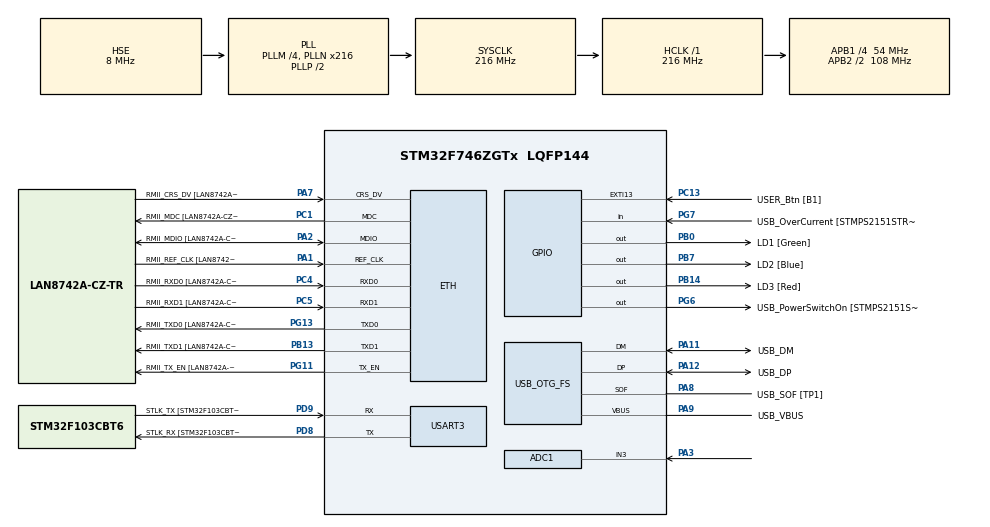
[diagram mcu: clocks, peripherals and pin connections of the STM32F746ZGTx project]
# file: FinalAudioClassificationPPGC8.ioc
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ADC1.Channel-0\#ChannelRegularConversion=ADC_CHANNEL_3
ADC1.ContinuousConvMode=ENABLE
ADC1.DMAContinuousRequests=ENABLE
ADC1.NbrOfConversionFlag=1
ADC1.Rank-0\#ChannelRegularConversion=1
ADC1.SamplingTime-0\#ChannelRegularConversion=ADC_SAMPLETIME_3CYCLES
ADC1.master=1
CORTEX_M7.CPU_DCache=Enabled
CORTEX_M7.CPU_ICache=Enabled
Dma.ADC1.0.Direction=DMA_PERIPH_TO_MEMORY
Dma.ADC1.0.FIFOMode=DMA_FIFOMODE_DISABLE
Dma.ADC1.0.Instance=DMA2_Stream0
Dma.ADC1.0.MemDataAlignment=DMA_MDATAALIGN_HALFWORD
Dma.ADC1.0.MemInc=DMA_MINC_ENABLE
Dma.ADC1.0.Mode=DMA_CIRCULAR
Dma.ADC1.0.PeriphDataAlignment=DMA_PDATAALIGN_HALFWORD
Dma.ADC1.0.PeriphInc=DMA_PINC_DISABLE
Dma.ADC1.0.Priority=DMA_PRIORITY_LOW
Dma.Request0=ADC1
ETH.MediaInterface=ETH_MEDIA_INTERFACE_RMII
ETH.PHY_Name=LAN8742A_PHY_ADDRESS
ETH.PHY_Value=0
ETH.PhyAddress=0
Mcu.Family=STM32F7
Mcu.Name=STM32F746ZGTx
Mcu.Package=LQFP144
NVIC.DMA2_Stream0_IRQn=true\:0\:0\:false\:false\:true\:false\:true
NVIC.PriorityGroup=NVIC_PRIORITYGROUP_4
PA1.GPIO_Label=RMII_REF_CLK [LAN8742A-CZ-TR_REFCLK0]
PA1.Mode=RMII
PA1.Signal=ETH_REF_CLK
PA10.GPIO_Label=USB_ID
PA10.Signal=USB_OTG_FS_ID
PA11.GPIO_Label=USB_DM
PA11.Mode=Device_Only
PA11.Signal=USB_OTG_FS_DM
PA12.GPIO_Label=USB_DP
PA12.Mode=Device_Only
PA12.Signal=USB_OTG_FS_DP
PA13.GPIO_Label=TMS
PA13.Mode=Serial_Wire
PA13.Signal=SYS_JTMS-SWDIO
PA14.GPIO_Label=TCK
PA14.Mode=Serial_Wire
PA14.Signal=SYS_JTCK-SWCLK
PA2.GPIO_Label=RMII_MDIO [LAN8742A-CZ-TR_MDIO]
PA2.Mode=RMII
PA2.Signal=ETH_MDIO
PA3.Signal=ADCx_IN3
PA7.GPIO_Label=RMII_CRS_DV [LAN8742A-CZ-TR_CRS_DV]
PA7.Mode=RMII
PA7.Signal=ETH_CRS_DV
PA8.GPIO_Label=USB_SOF [TP1]
PA8.Mode=Activate_SOF_FS
PA8.Signal=USB_OTG_FS_SOF
PA9.GPIO_Label=USB_VBUS
PA9.Mode=Activate_VBUS
PA9.Signal=USB_OTG_FS_VBUS
PB0.GPIO_Label=LD1 [Green]
PB0.Signal=GPIO_Output
PB13.GPIO_Label=RMII_TXD1 [LAN8742A-CZ-TR_TXD1]
PB13.Mode=RMII
PB13.Signal=ETH_TXD1
PB14.GPIO_Label=LD3 [Red]
PB14.Signal=GPIO_Output
PB3.GPIO_Label=SW0
PB3.Signal=SYS_JTDO-SWO
PB7.GPIO_Label=LD2 [Blue]
PB7.Signal=GPIO_Output
PC1.GPIO_Label=RMII_MDC [LAN8742A-CZ-TR_MDC]
PC1.Mode=RMII
PC1.Signal=ETH_MDC
PC13.GPIO_Label=USER_Btn [B1]
PC13.Signal=GPXTI13
PC14/OSC32_IN.Mode=LSE-External-Oscillator
PC14/OSC32_IN.Signal=RCC_OSC32_IN
PC15/OSC32_OUT.Mode=LSE-External-Oscillator
PC15/OSC32_OUT.Signal=RCC_OSC32_OUT
PC4.GPIO_Label=RMII_RXD0 [LAN8742A-CZ-TR_RXD0]
PC4.Mode=RMII
PC4.Signal=ETH_RXD0
PC5.GPIO_Label=RMII_RXD1 [LAN8742A-CZ-TR_RXD1]
PC5.Mode=RMII
PC5.Signal=ETH_RXD1
PD8.GPIO_Label=STLK_RX [STM32F103CBT6_PA3]
PD8.Mode=Asynchronous
PD8.Signal=USART3_TX
PD9.GPIO_Label=STLK_TX [STM32F103CBT6_PA2]
PD9.Mode=Asynchronous
PD9.Signal=USART3_RX
PG11.GPIO_Label=RMII_TX_EN [LAN8742A-CZ-TR_TXEN]
PG11.Mode=RMII
PG11.Signal=ETH_TX_EN
PG13.GPIO_Label=RMII_TXD0 [LAN8742A-CZ-TR_TXD0]
PG13.Mode=RMII
PG13.Signal=ETH_TXD0
PG6.GPIO_Label=USB_PowerSwitchOn [STMPS2151STR_EN]
PG6.Signal=GPIO_Output
PG7.GPIO_Label=USB_OverCurrent [STMPS2151STR_FAULT]
PG7.Signal=GPIO_Input
PH0/OSC_IN.GPIO_Label=MCO [STM32F103CBT6_PA8]
PH0/OSC_IN.Mode=HSE-External-Clock-Source
PH0/OSC_IN.Signal=RCC_OSC_IN
PH1/OSC_OUT.Mode=HSE-External-Clock-Source
PH1/OSC_OUT.Signal=RCC_OSC_OUT
ProjectManager.HeapSize=0x200
ProjectManager.StackSize=0x400
ProjectManager.TargetToolchain=STM32CubeIDE
RCC.48MHZClocksFreq_Value=24000000
RCC.AHBFreq_Value=216000000
RCC.APB1CLKDivider=RCC_HCLK_DIV4
RCC.APB1Freq_Value=54000000
RCC.APB1TimFreq_Value=108000000
RCC.APB2CLKDivider=RCC_HCLK_DIV2
RCC.APB2Freq_Value=108000000
RCC.APB2TimFreq_Value=216000000
RCC.CortexFreq_Value=216000000
RCC.HCLKFreq_Value=216000000
RCC.HSE_VALUE=8000000
RCC.HSI_VALUE=16000000
RCC.PLLM=4
RCC.PLLMUL=RCC_PLL_MUL9
RCC.PLLN=216
RCC.PLLQ=9
RCC.PRESCALERUSB=RCC_USBCLKSOURCE_PLL_DIV1_5
RCC.SYSCLKFreq_VALUE=216000000
RCC.SYSCLKSource=RCC_SYSCLKSOURCE_PLLCLK
RCC.SYSCLKSourceVirtual=RCC_SYSCLKSOURCE_PLLCLK
RCC.USBFreq_Value=48000000
RCC.VCOOutputFreq_Value=432000000
SH.ADCx_IN3.0=ADC1_IN3,IN3
STMicroelectronics.X-CUBE-AI.4.1.0.ActivationBufferSizeList=55552
STMicroelectronics.X-CUBE-AI.4.1.0.ApplicationCcArtificialOoIntelligenceJjApplication=ApplicationTemplate
STMicroelectronics.X-CUBE-AI.4.1.0.ArtificialOoIntelligenceJjApplication.cmp_version0=4.1.0
STMicroelectronics.X-CUBE-AI.4.1.0.ArtificialOoIntelligenceJjApplication.component0=Artificial Intelligence
STMicroelectronics.X-CUBE-AI.4.1.0.ArtificialOoIntelligenceJjApplication.description0=AI Application,Application Template
STMicroelectronics.X-CUBE-AI.4.1.0.ArtificialOoIntelligenceJjApplication.diagnostic0=This component should operate correctly.
STMicroelectronics.X-CUBE-AI.4.1.0.ArtificialOoIntelligenceJjApplication.documentation0=Documentation/index.html
STMicroelectronics.X-CUBE-AI.4.1.0.ArtificialOoIntelligenceJjApplication.group0=Application
STMicroelectronics.X-CUBE-AI.4.1.0.ArtificialOoIntelligenceJjApplication.paramName0=ApplicationCcArtificialOoIntelligenceJjApplication
STMicroelectronics.X-CUBE-AI.4.1.0.ArtificialOoIntelligenceJjApplication.sevirity0=none
STMicroelectronics.X-CUBE-AI.4.1.0.ArtificialOoIntelligenceJjApplication.variant0=ApplicationTemplate
STMicroelectronics.X-CUBE-AI.4.1.0.ArtificialOoIntelligenceJjApplication_bundle=Application
STMicroelectronics.X-CUBE-AI.4.1.0.ArtificialOoIntelligenceJjApplication_class=ArtificialOoIntelligence
STMicroelectronics.X-CUBE-AI.4.1.0.ArtificialOoIntelligenceJjApplication_name=X-CUBE-AI
STMicroelectronics.X-CUBE-AI.4.1.0.ArtificialOoIntelligenceJjApplication_size=1
STMicroelectronics.X-CUBE-AI.4.1.0.ArtificialOoIntelligenceJjApplication_vendor=STMicroelectronics
STMicroelectronics.X-CUBE-AI.4.1.0.ArtificialOoIntelligenceJjApplication_version=4.1.0
STMicroelectronics.X-CUBE-AI.4.1.0.ArtificialOoIntelligenceJjXAaCUBEAaAI.cmp_version0=4.1.0
STMicroelectronics.X-CUBE-AI.4.1.0.ArtificialOoIntelligenceJjXAaCUBEAaAI.cmp_version1=4.1.0
STMicroelectronics.X-CUBE-AI.4.1.0.ArtificialOoIntelligenceJjXAaCUBEAaAI.component0=Artificial Intelligence
STMicroelectronics.X-CUBE-AI.4.1.0.ArtificialOoIntelligenceJjXAaCUBEAaAI.component1=Artificial Intelligence
STMicroelectronics.X-CUBE-AI.4.1.0.ArtificialOoIntelligenceJjXAaCUBEAaAI.componentDoc0=nofile
STMicroelectronics.X-CUBE-AI.4.1.0.ArtificialOoIntelligenceJjXAaCUBEAaAI.description0=AI Core,Artificial Intelligence for STM32
STMicroelectronics.X-CUBE-AI.4.1.0.ArtificialOoIntelligenceJjXAaCUBEAaAI.description1=AI Application,Application Template
STMicroelectronics.X-CUBE-AI.4.1.0.ArtificialOoIntelligenceJjXAaCUBEAaAI.diagnostic0=This component should operate correctly.
STMicroelectronics.X-CUBE-AI.4.1.0.ArtificialOoIntelligenceJjXAaCUBEAaAI.diagnostic1=This component should operate correctly.
STMicroelectronics.X-CUBE-AI.4.1.0.ArtificialOoIntelligenceJjXAaCUBEAaAI.documentation0=Documentation/index.html
STMicroelectronics.X-CUBE-AI.4.1.0.ArtificialOoIntelligenceJjXAaCUBEAaAI.documentation1=Documentation/index.html
STMicroelectronics.X-CUBE-AI.4.1.0.ArtificialOoIntelligenceJjXAaCUBEAaAI.group0=Core
STMicroelectronics.X-CUBE-AI.4.1.0.ArtificialOoIntelligenceJjXAaCUBEAaAI.group1=Application
STMicroelectronics.X-CUBE-AI.4.1.0.ArtificialOoIntelligenceJjXAaCUBEAaAI.paramName0=XAaCUBEAaAICcArtificialOoIntelligenceJjCore
STMicroelectronics.X-CUBE-AI.4.1.0.ArtificialOoIntelligenceJjXAaCUBEAaAI.paramName1=ApplicationCcArtificialOoIntelligenceJjApplication
STMicroelectronics.X-CUBE-AI.4.1.0.ArtificialOoIntelligenceJjXAaCUBEAaAI.sevirity0=none
STMicroelectronics.X-CUBE-AI.4.1.0.ArtificialOoIntelligenceJjXAaCUBEAaAI.sevirity1=none
STMicroelectronics.X-CUBE-AI.4.1.0.ArtificialOoIntelligenceJjXAaCUBEAaAI.variant1=ApplicationTemplate
STMicroelectronics.X-CUBE-AI.4.1.0.ArtificialOoIntelligenceJjXAaCUBEAaAI_bundle=X-CUBE-AI
STMicroelectronics.X-CUBE-AI.4.1.0.ArtificialOoIntelligenceJjXAaCUBEAaAI_class=ArtificialOoIntelligence
STMicroelectronics.X-CUBE-AI.4.1.0.ArtificialOoIntelligenceJjXAaCUBEAaAI_name=X-CUBE-AI
STMicroelectronics.X-CUBE-AI.4.1.0.ArtificialOoIntelligenceJjXAaCUBEAaAI_size=2
STMicroelectronics.X-CUBE-AI.4.1.0.ArtificialOoIntelligenceJjXAaCUBEAaAI_vendor=STMicroelectronics
STMicroelectronics.X-CUBE-AI.4.1.0.ArtificialOoIntelligenceJjXAaCUBEAaAI_version=4.1.0
STMicroelectronics.X-CUBE-AI.4.1.0.HeapSize=0x200
STMicroelectronics.X-CUBE-AI.4.1.0.InternalRamActivationBufferMaxSize=AI_NETWORK_DATA_ACTIVATIONS_SIZE
STMicroelectronics.X-CUBE-AI.4.1.0.LatestDirectoryUsed-abd3b78fb78ced9f361b1f0ebdb47a8363bcf43b3bab798a49e808e65d75fdf4=C\:\\Users\\User\\Downloads\\ModelsForMicro\\ModelsForMicro
STMicroelectronics.X-CUBE-AI.4.1.0.ModelActualCompression-abd3b78fb78ced9f361b1f0ebdb47a8363bcf43b3bab798a49e808e65d75fdf4=0.0
STMicroelectronics.X-CUBE-AI.4.1.0.ModelCompression-abd3b78fb78ced9f361b1f0ebdb47a8363bcf43b3bab798a49e808e65d75fdf4=8
STMicroelectronics.X-CUBE-AI.4.1.0.ModelFlashOccupation-abd3b78fb78ced9f361b1f0ebdb47a8363bcf43b3bab798a49e808e65d75fdf4=590988
STMicroelectronics.X-CUBE-AI.4.1.0.ModelHashList=abd3b78fb78ced9f361b1f0ebdb47a8363bcf43b3bab798a49e808e65d75fdf4
STMicroelectronics.X-CUBE-AI.4.1.0.ModelKind-abd3b78fb78ced9f361b1f0ebdb47a8363bcf43b3bab798a49e808e65d75fdf4=KERAS
STMicroelectronics.X-CUBE-AI.4.1.0.ModelMacc-abd3b78fb78ced9f361b1f0ebdb47a8363bcf43b3bab798a49e808e65d75fdf4=11781149
STMicroelectronics.X-CUBE-AI.4.1.0.ModelName-abd3b78fb78ced9f361b1f0ebdb47a8363bcf43b3bab798a49e808e65d75fdf4=network
STMicroelectronics.X-CUBE-AI.4.1.0.ModelNameList=network
STMicroelectronics.X-CUBE-AI.4.1.0.ModelRamOccupation-abd3b78fb78ced9f361b1f0ebdb47a8363bcf43b3bab798a49e808e65d75fdf4=55552
STMicroelectronics.X-CUBE-AI.4.1.0.ModelStructureFile-abd3b78fb78ced9f361b1f0ebdb47a8363bcf43b3bab798a49e808e65d75fdf4=C\:\\Users\\User\\Downloads\\ModelsForMicro\\ModelsForMicro\\model_convReducedLessTest.h5
STMicroelectronics.X-CUBE-AI.4.1.0.ModelType-abd3b78fb78ced9f361b1f0ebdb47a8363bcf43b3bab798a49e808e65d75fdf4=Saved model
STMicroelectronics.X-CUBE-AI.4.1.0.StackSize=0x400
STMicroelectronics.X-CUBE-AI.4.1.0.WorkingBufferStartAddrList=0xFFFFFFFF
STMicroelectronics.X-CUBE-AI.4.1.0.XAaCUBEAaAICcArtificialOoIntelligenceJjCore=true
STMicroelectronics.X-CUBE-AI.4.1.0_ArtificialOoIntelligenceJjApplication_RteComponent0=\#define AI_ApplicationTemplate
STMicroelectronics.X-CUBE-AI.4.1.0_ArtificialOoIntelligenceJjApplication_RteComponentsize=1
STMicroelectronics.X-CUBE-AI.4.1.0_ArtificialOoIntelligenceJjXAaCUBEAaAI_RteComponentsize=0
STMicroelectronics.X-CUBE-AI.4.1.0_MwName0=X-CUBE-AI
STMicroelectronics.X-CUBE-AI.4.1.0_MwName1=Application
STMicroelectronics.X-CUBE-AI.4.1.0_NumberOfMw=2
STMicroelectronics.X-CUBE-AI.4.1.0_description=Artificial Intelligence
STMicroelectronics.X-CUBE-AI.4.1.0_license=SLA0048.txt
USART3.VirtualMode-Asynchronous=VM_ASYNC
USB_OTG_FS.VirtualMode=Device_Only
VP_CRC_VS_CRC.Mode=CRC_Activate
VP_STMicroelectronics.X-CUBE-AI_VS_ArtificialOoIntelligenceJjApplication_4.1.0.Mode=ArtificialOoIntelligenceJjApplication
VP_STMicroelectronics.X-CUBE-AI_VS_ArtificialOoIntelligenceJjXAaCUBEAaAI_4.1.0.Mode=ArtificialOoIntelligenceJjXAaCUBEAaAI
board=NUCLEO-F746ZG

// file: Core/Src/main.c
/* USER CODE BEGIN Header */
/**
  ******************************************************************************
  * @file           : main.c
  * @brief          : Main program body
  ******************************************************************************
  * @attention
  *
  * <h2><center>&copy; Copyright (c) 2019 STMicroelectronics.
  * All rights reserved.</center></h2>
  *
  * This software component is licensed by ST under BSD 3-Clause license,
  * the "License"; You may not use this file except in compliance with the
  * License. You may obtain a copy of the License at:
  *                        opensource.org/licenses/BSD-3-Clause
  *
  ******************************************************************************
  */
/* USER CODE END Header */

#include "main.h"
#include "app_x-cube-ai.h"

/* USER CODE BEGIN Includes */
#include <stdio.h>
#include <string.h>
#include "base.h"
#include "c_speech_features.h"
#include "TestSamples.h"
/* USER CODE END Includes */

/* USER CODE BEGIN PD */
#define ADC_BUF_SIZE                   113
#define BIG_BUFFER_SIZE                64000
#define LITTLE_BUFFER_SIZE             1600
#define PRINT_BUFFER_SIZE              150
#define MAX_UINT12                     4095
#define MFCC_LENGTH                    9
#define SAMPLE_RATE                    16000
#define WINDOW_LENGTH 0.025
#define WINDOW_STEP   0.01
#define NCEPS          13
#define NFILT         26
#define NFFT          512
/* USER CODE END PD */

ADC_HandleTypeDef hadc1;
DMA_HandleTypeDef hdma_adc1;

CRC_HandleTypeDef hcrc;

ETH_HandleTypeDef heth;

//TIM_HandleTypeDef htim3;

UART_HandleTypeDef huart3;

PCD_HandleTypeDef hpcd_USB_OTG_FS;

/* USER CODE BEGIN PV */
uint16_t adc_buf[ADC_BUF_SIZE];
int16_t BigBuffer[BIG_BUFFER_SIZE];
int16_t LittleBuffer[LITTLE_BUFFER_SIZE];
uint8_t TakeADCReading = 0;
/* USER CODE END PV */

void SystemClock_Config(void);
static void MX_GPIO_Init(void);
static void MX_ETH_Init(void);
static void MX_USART3_UART_Init(void);
//static void MX_USB_OTG_FS_PCD_Init(void);
static void MX_DMA_Init(void);
static void MX_ADC1_Init(void);
//static void MX_TIM3_Init(void);
static void MX_CRC_Init(void);
/* USER CODE BEGIN PFP */
void floatToIntRound(float *input, int16_t *output);
/* USER CODE END PFP */

int main(void)
{
  /* USER CODE BEGIN 1 */
	//uint32_t startTime = 0;
	//uint32_t finishTime = 0;
	csf_float* MFCC = NULL;
	int mfcc_d1 = 0;
	int mfcc_d2 = 0;
	csf_float winFunc[400] = {0.0};
	char stringBuffer[PRINT_BUFFER_SIZE];
  /* USER CODE END 1 */

  /* MCU Configuration--------------------------------------------------------*/

  /* Reset of all peripherals, Initializes the Flash interface and the Systick. */
  HAL_Init();

  /* Configure the system clock */
  SystemClock_Config();

  /* Initialize all configured peripherals */
  MX_GPIO_Init();
  MX_ETH_Init();
  MX_USART3_UART_Init();
  //MX_USB_OTG_FS_PCD_Init();
  MX_DMA_Init();
  MX_ADC1_Init();
  MX_CRC_Init();
  //MX_TIM3_Init();
  MX_X_CUBE_AI_Init();
  /* USER CODE BEGIN 2 */
  HAL_ADC_Start_DMA(&hadc1, (uint32_t*) adc_buf, ADC_BUF_SIZE);
  /* USER CODE END 2 */

  /* Infinite loop */
  /* USER CODE BEGIN WHILE */
  while (1)
  {
	  // Print to serial------------------------//
	  strcpy(stringBuffer, "Recording..\r\n");
	  HAL_UART_Transmit(&huart3, (uint8_t*)stringBuffer, strlen(stringBuffer), HAL_MAX_DELAY);
	  //----------------------------------------//

	  // Gather signal, from ADC readings-----------------//
	  for (uint16_t i = 0; i < BIG_BUFFER_SIZE; i++){
		  while (TakeADCReading == 0){
			  // Do Nothing
			  // Wait to take a further ADC Reading
		  }
		  TakeADCReading = 0;
		  BigBuffer[i] = adc_buf[112];
	  }
	  //--------------------------------------------------//

	  // Print to serial---------------------------//
	  strcpy(stringBuffer, "Recorded\r\n");
	  HAL_UART_Transmit(&huart3, (uint8_t*)stringBuffer, strlen(stringBuffer), HAL_MAX_DELAY);
	  //------------------------------------------//

	  // Check Signal, from ADC, print to serial-----------------------------//
	  strcpy(stringBuffer, "Printing: \r\n");
	  HAL_UART_Transmit(&huart3, (uint8_t*)stringBuffer, strlen(stringBuffer), HAL_MAX_DELAY);

	  for (int i = 0; i < (BIG_BUFFER_SIZE/8); i++){
		  sprintf(stringBuffer, "%i, %i, %i, %i, %i, %i, %i, %i,\r\n", BigBuffer[i*8],
				  BigBuffer[i*8+1], BigBuffer[i*8+2], BigBuffer[i*8+3], BigBuffer[i*8+4],
	  			  BigBuffer[i*8+5], BigBuffer[i*8+6], BigBuffer[i*8+7]);
		  HAL_UART_Transmit(&huart3, (uint8_t*)stringBuffer, strlen(stringBuffer), HAL_MAX_DELAY);
	  }

	  strcpy(stringBuffer, "Printed \r\n");
	  HAL_UART_Transmit(&huart3, (uint8_t*)stringBuffer, strlen(stringBuffer), HAL_MAX_DELAY);
	  //---------------------------------------------------------------------//

	  // Isolate peak----------------------------//
	  // Get maximum/peak value and Index
	  int16_t maxValue = 0;
	  int16_t maxValueIndex = 0;
	  int16_t samplesBefore = (int16_t) (0.03*SAMPLE_RATE);
	  int16_t samplesAfter = (int16_t) (0.07*SAMPLE_RATE);
	  for (int i = 0; i < (BIG_BUFFER_SIZE); i++){
	  		  if (BigBuffer[i] > maxValue){
	  			  if (i < samplesBefore){
	  				  // Don't set maximum
	  			  }
	  			  else if (i > BIG_BUFFER_SIZE - samplesAfter){
	  				  // Don't set maximum
	  			  }
	  			  else {
					  maxValue = BigBuffer[i];
					  maxValueIndex = i;
	  			  }
	  		  }
	  }
	  sprintf(stringBuffer, "MaxValueIndex: %u\r\n", maxValueIndex);
	  HAL_UART_Transmit(&huart3, (uint8_t*)stringBuffer, strlen(stringBuffer), HAL_MAX_DELAY);

	  // Isolate 0.1 seconds around peak
	  // Take 0.03 seconds before peak and 0.07 seconds after
	  int16_t peakStartIndex = maxValueIndex - samplesBefore;
	  int16_t peakEndIndex = maxValueIndex + samplesAfter;

	  sprintf(stringBuffer, "peakStartIndex: %u\r\n", peakStartIndex);
	  HAL_UART_Transmit(&huart3, (uint8_t*)stringBuffer, strlen(stringBuffer), HAL_MAX_DELAY);

	  sprintf(stringBuffer, "peakEndIndex: %u\r\n", peakEndIndex);
	  HAL_UART_Transmit(&huart3, (uint8_t*)stringBuffer, strlen(stringBuffer), HAL_MAX_DELAY);

	  // Fill 0.1 second window
	  for (int16_t i = 0; (i + peakStartIndex) < peakEndIndex; i++){
		  LittleBuffer[i] = BigBuffer[i + peakStartIndex];
	  }
	  //-----------------------------------------//

	  // LittleBuffer, Before Normalization-------------------------//
	  /*strcpy(stringBuffer, "LittleBuffer, Before Normalization:\r\n");
	  HAL_UART_Transmit(&huart3, (uint8_t*)stringBuffer, strlen(stringBuffer), HAL_MAX_DELAY);

	  for (int i = 0; i < (LITTLE_BUFFER_SIZE/8); i++){
		  sprintf(stringBuffer, "%i, %i, %i, %i, %i, %i, %i, %i,\r\n", LittleBuffer[i*8],
				  LittleBuffer[i*8+1], LittleBuffer[i*8+2], LittleBuffer[i*8+3], LittleBuffer[i*8+4],
				  LittleBuffer[i*8+5], LittleBuffer[i*8+6], LittleBuffer[i*8+7]);
		  HAL_UART_Transmit(&huart3, (uint8_t*)stringBuffer, strlen(stringBuffer), HAL_MAX_DELAY);
	  }*/
	  //-----------------------------------------------------------//

	  // Calculate window function, for use in mfcc function-----------//
	  for (int i = 0; i < 400; i++){
		  winFunc[i] = 1.0;
	  }
	  //---------------------------------------------------------------//

	  // Normalization signal before mfcc--------------//
	  // Get minimum value
	  int16_t minValue = MAX_UINT12;
	  for (int i = 0; i < LITTLE_BUFFER_SIZE; i++){
		  if (LittleBuffer[i] < minValue){
			  minValue = LittleBuffer[i];
		  }
	  }

	  sprintf(stringBuffer, "MaxValue = %u\r\n", maxValue);
	  HAL_UART_Transmit(&huart3, (uint8_t*)stringBuffer, strlen(stringBuffer), HAL_MAX_DELAY);
	  sprintf(stringBuffer, "MinValue = %u\r\n", minValue);
	  HAL_UART_Transmit(&huart3, (uint8_t*)stringBuffer, strlen(stringBuffer), HAL_MAX_DELAY);

	  // Int Normalization, between 4095 and 0
	  float NormFactor = ((float) MAX_UINT12/ (float) (maxValue - minValue));
	  for (int i = 0; i < LITTLE_BUFFER_SIZE; i++){
		  float tmp = (float) (LittleBuffer[i] - minValue) * NormFactor;
		  floatToIntRound(&tmp, &LittleBuffer[i]);
	  }
	  //----------------------------------------------//

	  // Check LittleBuffer After Normalization------------------------//
	  /*strcpy(stringBuffer, "Before mfcc\r\n");
	  HAL_UART_Transmit(&huart3, (uint8_t*)stringBuffer, strlen(stringBuffer), HAL_MAX_DELAY);
	  strcpy(stringBuffer, "LittleBuffer, After Normalization:\r\n");
	  	  HAL_UART_Transmit(&huart3, (uint8_t*)stringBuffer, strlen(stringBuffer), HAL_MAX_DELAY);

	  for (int i = 0; i < (LITTLE_BUFFER_SIZE/8); i++){
		  sprintf(stringBuffer, "%i, %i, %i, %i, %i, %i, %i, %i,\r\n", LittleBuffer[i*8],
				  LittleBuffer[i*8+1], LittleBuffer[i*8+2], LittleBuffer[i*8+3], LittleBuffer[i*8+4],
				  LittleBuffer[i*8+5], LittleBuffer[i*8+6], LittleBuffer[i*8+7]);
		  HAL_UART_Transmit(&huart3, (uint8_t*)stringBuffer, strlen(stringBuffer), HAL_MAX_DELAY);
	  }*/
	  //--------------------------------------------------------------//

	  // Get Mfcc----------------------------------//
	  mfcc(LittleBuffer, LITTLE_BUFFER_SIZE, SAMPLE_RATE,
			   WINDOW_LENGTH, WINDOW_STEP, NCEPS, NFILT, NFFT,
			   0, 0, 0.97, 22, 1, winFunc,
			   &MFCC, &mfcc_d1, &mfcc_d2);
	  //-------------------------------------------//

	  // Check Mfcc, print to serial--------------------------//
	  /*strcpy(stringBuffer, "After mfcc\r\n");
	  HAL_UART_Transmit(&huart3, (uint8_t*)stringBuffer, strlen(stringBuffer), HAL_MAX_DELAY);

	  for (int i = 0; i < (MFCC_LENGTH); i++){
		  sprintf(stringBuffer, "%f, %f, %f, %f, %f, %f, %f, %f, %f, %f, %f, %f, %f\r\n", MFCC[i*13],
				  MFCC[i*13+1], MFCC[i*13+2], MFCC[i*13+3], MFCC[i*13+4], MFCC[i*13+5], MFCC[i*13+6],
				  MFCC[i*13+7], MFCC[i*13+8], MFCC[i*13+9], MFCC[i*13+10], MFCC[i*13+11],
				  MFCC[i*13+12]);
		  HAL_UART_Transmit(&huart3, (uint8_t*)stringBuffer, strlen(stringBuffer), HAL_MAX_DELAY);
	  }*/
	  //------------------------------------------------------//

	  // Initialize Input/Output buffers ----------------------//
	  ai_float NnOutput[AI_NETWORK_OUT_1_SIZE];
	  ai_float NnInput[AI_NETWORK_IN_1_SIZE];
	  //-------------------------------------------------------//

	  // Normalization after Mfcc------------------------------//
	  // Get maximum and minimum from data, for normalization
	  float maxMfccValue = 0;
	  float minMfccValue = 10000000.0;
	  for (int i = 0; i < (NCEPS*MFCC_LENGTH); i++){
		  if (MFCC[i] > maxMfccValue){
			  maxMfccValue = MFCC[i];
		  }
		  if (MFCC[i] < minMfccValue){
			  minMfccValue = MFCC[i];
		  }
	  }

	  // Normalise
	  for (int i = 0; i < (NCEPS*MFCC_LENGTH); i++){
		  NnInput[i] = (MFCC[i] - minMfccValue) / (maxMfccValue - minMfccValue);
	  }
	  //------------------------------------------------------//

	  // Check Input, print to serial--------------//
	  /*strcpy(stringBuffer, "NnInput: \r\n");
	  HAL_UART_Transmit(&huart3, (uint8_t*)stringBuffer, strlen(stringBuffer), HAL_MAX_DELAY);

	  for (int i = 0; i < (9); i++){
		  sprintf(stringBuffer, "%f, %f, %f, %f, %f, %f, %f, %f, %f, %f, %f, %f, %f\r\n", NnInput[i*13],
				  NnInput[i*13+1], NnInput[i*13+2], NnInput[i*13+3], NnInput[i*13+4], NnInput[i*13+5],
				  NnInput[i*13+6], NnInput[i*13+7], NnInput[i*13+8], NnInput[i*13+9], NnInput[i*13+10],
				  NnInput[i*13+11], NnInput[i*13+12]);
		  HAL_UART_Transmit(&huart3, (uint8_t*)stringBuffer, strlen(stringBuffer), HAL_MAX_DELAY);
	  }*/
	  //-------------------------------------------//

	  // Run NN ---------------------------//
	  aiRun(NnInput,NnOutput);
	  //aiRun(GlassSample, NnOutput); // Test
	  //-----------------------------------//

	  // Print Result Probabilites --------------------//
	  for (int i = 0; i < AI_NETWORK_OUT_1_SIZE; i++){
		  sprintf(stringBuffer, "%i Output = %f\r\n", i, NnOutput[i]);
		  HAL_UART_Transmit(&huart3, (uint8_t*)stringBuffer, strlen(stringBuffer), HAL_MAX_DELAY);
	  }
	  //-----------------------------------------------//

	  // Take only one reading------------------//
	  return 1;
	  //----------------------------------------//

	  /* USER CODE END WHILE */

  }
}

void floatToIntRound(float *input, int16_t *output){
	int16_t tmp = (int16_t) *input;
	float afterDecimal = *input - (float) tmp;
	if (afterDecimal < 0.5){
		*output = tmp;
	}
	else{
		*output = tmp + 1;
	}
}

void SystemClock_Config(void)
{
  RCC_OscInitTypeDef RCC_OscInitStruct = {0};
  RCC_ClkInitTypeDef RCC_ClkInitStruct = {0};
  RCC_PeriphCLKInitTypeDef PeriphClkInitStruct = {0};

  /** Configure LSE Drive Capability
  */
  HAL_PWR_EnableBkUpAccess();
  /** Configure the main internal regulator output voltage
  */
  __HAL_RCC_PWR_CLK_ENABLE();
  __HAL_PWR_VOLTAGESCALING_CONFIG(PWR_REGULATOR_VOLTAGE_SCALE1);
  /** Initializes the CPU, AHB and APB busses clocks
  */
  RCC_OscInitStruct.OscillatorType = RCC_OSCILLATORTYPE_HSE;
  RCC_OscInitStruct.HSEState = RCC_HSE_BYPASS;
  RCC_OscInitStruct.PLL.PLLState = RCC_PLL_ON;
  RCC_OscInitStruct.PLL.PLLSource = RCC_PLLSOURCE_HSE;
  RCC_OscInitStruct.PLL.PLLM = 4;
  RCC_OscInitStruct.PLL.PLLN = 216;
  RCC_OscInitStruct.PLL.PLLP = RCC_PLLP_DIV2;
  RCC_OscInitStruct.PLL.PLLQ = 9;
  if (HAL_RCC_OscConfig(&RCC_OscInitStruct) != HAL_OK)
  {
    Error_Handler();
  }
  /** Activate the Over-Drive mode
  */
  if (HAL_PWREx_EnableOverDrive() != HAL_OK)
  {
    Error_Handler();
  }
  /** Initializes the CPU, AHB and APB busses clocks
  */
  RCC_ClkInitStruct.ClockType = RCC_CLOCKTYPE_HCLK|RCC_CLOCKTYPE_SYSCLK
                              |RCC_CLOCKTYPE_PCLK1|RCC_CLOCKTYPE_PCLK2;
  RCC_ClkInitStruct.SYSCLKSource = RCC_SYSCLKSOURCE_PLLCLK;
  RCC_ClkInitStruct.AHBCLKDivider = RCC_SYSCLK_DIV1;
  RCC_ClkInitStruct.APB1CLKDivider = RCC_HCLK_DIV4;
  RCC_ClkInitStruct.APB2CLKDivider = RCC_HCLK_DIV2;

  if (HAL_RCC_ClockConfig(&RCC_ClkInitStruct, FLASH_LATENCY_7) != HAL_OK)
  {
    Error_Handler();
  }
  PeriphClkInitStruct.PeriphClockSelection = RCC_PERIPHCLK_USART3|RCC_PERIPHCLK_CLK48;
  PeriphClkInitStruct.Usart3ClockSelection = RCC_USART3CLKSOURCE_PCLK1;
  PeriphClkInitStruct.Clk48ClockSelection = RCC_CLK48SOURCE_PLL;
  if (HAL_RCCEx_PeriphCLKConfig(&PeriphClkInitStruct) != HAL_OK)
  {
    Error_Handler();
  }
}

static void MX_ADC1_Init(void)
{

  ADC_ChannelConfTypeDef sConfig = {0};

  /** Configure the global features of the ADC (Clock, Resolution, Data Alignment and number of conversion)
  */
  hadc1.Instance = ADC1;
  hadc1.Init.ClockPrescaler = ADC_CLOCK_SYNC_PCLK_DIV4;
  hadc1.Init.Resolution = ADC_RESOLUTION_12B;
  hadc1.Init.ScanConvMode = ADC_SCAN_DISABLE;
  hadc1.Init.ContinuousConvMode = ENABLE;
  hadc1.Init.DiscontinuousConvMode = DISABLE;
  hadc1.Init.ExternalTrigConvEdge = ADC_EXTERNALTRIGCONVEDGE_NONE;
  hadc1.Init.ExternalTrigConv = ADC_SOFTWARE_START;
  hadc1.Init.DataAlign = ADC_DATAALIGN_RIGHT;
  hadc1.Init.NbrOfConversion = 1;
  hadc1.Init.DMAContinuousRequests = ENABLE;
  hadc1.Init.EOCSelection = ADC_EOC_SINGLE_CONV;
  if (HAL_ADC_Init(&hadc1) != HAL_OK)
  {
    Error_Handler();
  }
  /** Configure for the selected ADC regular channel its corresponding rank in the sequencer and its sample time.
  */
  sConfig.Channel = ADC_CHANNEL_3;
  sConfig.Rank = ADC_REGULAR_RANK_1;
  sConfig.SamplingTime = ADC_SAMPLETIME_3CYCLES;
  if (HAL_ADC_ConfigChannel(&hadc1, &sConfig) != HAL_OK)
  {
    Error_Handler();
  }

}
static void MX_CRC_Init(void)
{

  hcrc.Instance = CRC;
  hcrc.Init.DefaultPolynomialUse = DEFAULT_POLYNOMIAL_ENABLE;
  hcrc.Init.DefaultInitValueUse = DEFAULT_INIT_VALUE_ENABLE;
  hcrc.Init.InputDataInversionMode = CRC_INPUTDATA_INVERSION_NONE;
  hcrc.Init.OutputDataInversionMode = CRC_OUTPUTDATA_INVERSION_DISABLE;
  hcrc.InputDataFormat = CRC_INPUTDATA_FORMAT_BYTES;
  if (HAL_CRC_Init(&hcrc) != HAL_OK)
  {
    Error_Handler();
  }

}

static void MX_ETH_Init(void)
{

  heth.Instance = ETH;
  heth.Init.AutoNegotiation = ETH_AUTONEGOTIATION_ENABLE;
  heth.Init.PhyAddress = LAN8742A_PHY_ADDRESS;
  heth.Init.MACAddr[0] =   0x00;
  heth.Init.MACAddr[1] =   0x80;
  heth.Init.MACAddr[2] =   0xE1;
  heth.Init.MACAddr[3] =   0x00;
  heth.Init.MACAddr[4] =   0x00;
  heth.Init.MACAddr[5] =   0x00;
  heth.Init.RxMode = ETH_RXPOLLING_MODE;
  heth.Init.ChecksumMode = ETH_CHECKSUM_BY_HARDWARE;
  heth.Init.MediaInterface = ETH_MEDIA_INTERFACE_RMII;

  if (HAL_ETH_Init(&heth) != HAL_OK)
  {
    Error_Handler();
  }

}

static void MX_USART3_UART_Init(void)
{

  huart3.Instance = USART3;
  huart3.Init.BaudRate = 115200;
  huart3.Init.WordLength = UART_WORDLENGTH_8B;
  huart3.Init.StopBits = UART_STOPBITS_1;
  huart3.Init.Parity = UART_PARITY_NONE;
  huart3.Init.Mode = UART_MODE_TX_RX;
  huart3.Init.HwFlowCtl = UART_HWCONTROL_NONE;
  huart3.Init.OverSampling = UART_OVERSAMPLING_16;
  huart3.Init.OneBitSampling = UART_ONE_BIT_SAMPLE_DISABLE;
  huart3.AdvancedInit.AdvFeatureInit = UART_ADVFEATURE_NO_INIT;
  if (HAL_UART_Init(&huart3) != HAL_OK)
  {
    Error_Handler();
  }

}

/*static void MX_USB_OTG_FS_PCD_Init(void)
{

   USER CODE BEGIN USB_OTG_FS_Init 0

   USER CODE END USB_OTG_FS_Init 0

   USER CODE BEGIN USB_OTG_FS_Init 1

   USER CODE END USB_OTG_FS_Init 1
  hpcd_USB_OTG_FS.Instance = USB_OTG_FS;
  hpcd_USB_OTG_FS.Init.dev_endpoints = 6;
  hpcd_USB_OTG_FS.Init.speed = PCD_SPEED_FULL;
  hpcd_USB_OTG_FS.Init.dma_enable = DISABLE;
  hpcd_USB_OTG_FS.Init.phy_itface = PCD_PHY_EMBEDDED;
  hpcd_USB_OTG_FS.Init.Sof_enable = ENABLE;
  hpcd_USB_OTG_FS.Init.low_power_enable = DISABLE;
  hpcd_USB_OTG_FS.Init.lpm_enable = DISABLE;
  hpcd_USB_OTG_FS.Init.vbus_sensing_enable = ENABLE;
  hpcd_USB_OTG_FS.Init.use_dedicated_ep1 = DISABLE;
  if (HAL_PCD_Init(&hpcd_USB_OTG_FS) != HAL_OK)
  {
    Error_Handler();
  }
   USER CODE BEGIN USB_OTG_FS_Init 2

   USER CODE END USB_OTG_FS_Init 2

}*/

static void MX_DMA_Init(void)
{

  /* DMA controller clock enable */
  __HAL_RCC_DMA2_CLK_ENABLE();

  /* DMA interrupt init */
  /* DMA2_Stream0_IRQn interrupt configuration */
  HAL_NVIC_SetPriority(DMA2_Stream0_IRQn, 0, 0);
  HAL_NVIC_EnableIRQ(DMA2_Stream0_IRQn);

}

static void MX_GPIO_Init(void)
{
  GPIO_InitTypeDef GPIO_InitStruct = {0};

  /* GPIO Ports Clock Enable */
  __HAL_RCC_GPIOC_CLK_ENABLE();
  __HAL_RCC_GPIOH_CLK_ENABLE();
  __HAL_RCC_GPIOA_CLK_ENABLE();
  __HAL_RCC_GPIOB_CLK_ENABLE();
  __HAL_RCC_GPIOD_CLK_ENABLE();
  __HAL_RCC_GPIOG_CLK_ENABLE();

  /*Configure GPIO pin Output Level */
  HAL_GPIO_WritePin(GPIOB, LD1_Pin|LD3_Pin|LD2_Pin, GPIO_PIN_RESET);

  /*Configure GPIO pin Output Level */
  HAL_GPIO_WritePin(USB_PowerSwitchOn_GPIO_Port, USB_PowerSwitchOn_Pin, GPIO_PIN_RESET);

  /*Configure GPIO pin : USER_Btn_Pin */
  GPIO_InitStruct.Pin = USER_Btn_Pin;
  GPIO_InitStruct.Mode = GPIO_MODE_IT_RISING;
  GPIO_InitStruct.Pull = GPIO_NOPULL;
  HAL_GPIO_Init(USER_Btn_GPIO_Port, &GPIO_InitStruct);

  /*Configure GPIO pins : LD1_Pin LD3_Pin LD2_Pin */
  GPIO_InitStruct.Pin = LD1_Pin|LD3_Pin|LD2_Pin;
  GPIO_InitStruct.Mode = GPIO_MODE_OUTPUT_PP;
  GPIO_InitStruct.Pull = GPIO_NOPULL;
  GPIO_InitStruct.Speed = GPIO_SPEED_FREQ_LOW;
  HAL_GPIO_Init(GPIOB, &GPIO_InitStruct);

  /*Configure GPIO pin : USB_PowerSwitchOn_Pin */
  GPIO_InitStruct.Pin = USB_PowerSwitchOn_Pin;
  GPIO_InitStruct.Mode = GPIO_MODE_OUTPUT_PP;
  GPIO_InitStruct.Pull = GPIO_NOPULL;
  GPIO_InitStruct.Speed = GPIO_SPEED_FREQ_LOW;
  HAL_GPIO_Init(USB_PowerSwitchOn_GPIO_Port, &GPIO_InitStruct);

  /*Configure GPIO pin : USB_OverCurrent_Pin */
  GPIO_InitStruct.Pin = USB_OverCurrent_Pin;
  GPIO_InitStruct.Mode = GPIO_MODE_INPUT;
  GPIO_InitStruct.Pull = GPIO_NOPULL;
  HAL_GPIO_Init(USB_OverCurrent_GPIO_Port, &GPIO_InitStruct);

}

/* USER CODE BEGIN 4 */
// Called when buffer is completely filled
void HAL_ADC_ConvCpltCallback(ADC_HandleTypeDef* hadc){
	TakeADCReading = 1;
}
/* USER CODE END 4 */

void Error_Handler(void)
{
}

/************************ (C) COPYRIGHT STMicroelectronics *****END OF FILE****/
